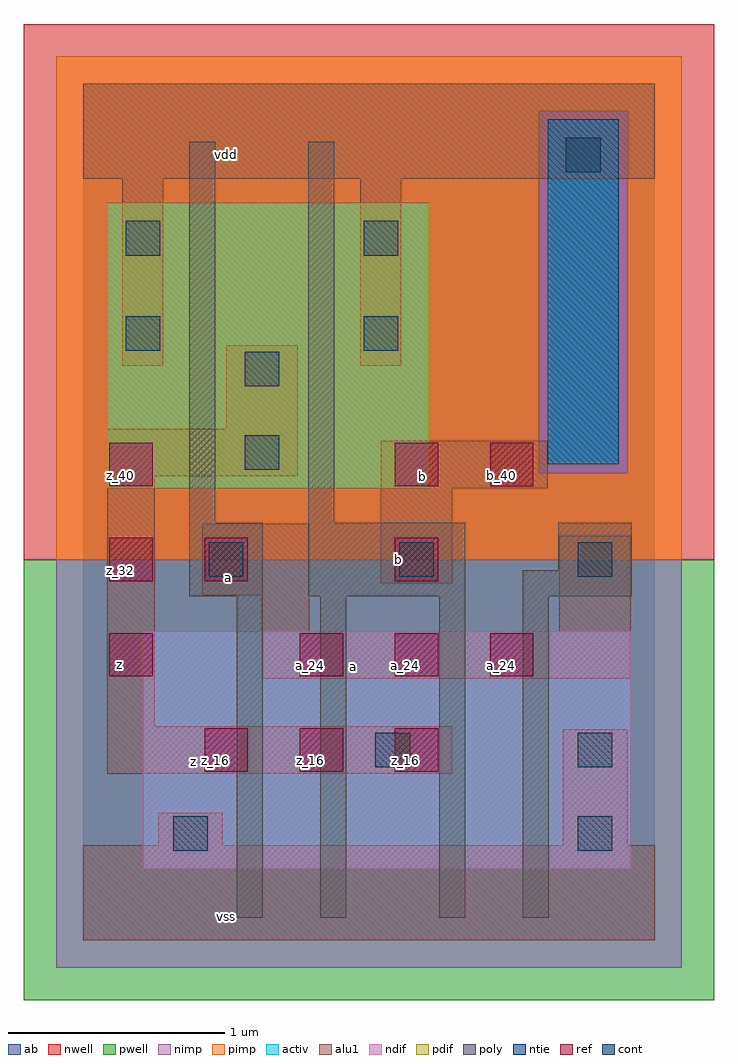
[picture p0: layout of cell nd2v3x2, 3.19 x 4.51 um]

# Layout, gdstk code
import gdstk
lib = gdstk.Library(unit=1e-6, precision=2.5e-09)
def R(c, l, rs):  # rectangles x0, y0, x1, y1
    for r in rs: c.add(gdstk.rectangle(r[:2], r[2:], *l))
def A(c, l, x, y, w, h, nx, ny, dx, dy):  # array of equal rectangles
    R(c, l, [(x+i*dx, y+j*dy, x+i*dx+w, y+j*dy+h) for i in range(nx) for j in range(ny)])
ndif = (3, 0)
pdif = (4, 0)
ntie = (5, 0)
ref = (24, 0)
cont = (25, 0)
pwell = (41, 0)
nwell = (42, 0)
activ = (43, 0)
pimp = (44, 0)
nimp = (45, 0)
poly = (46, 0)
alu1 = (49, 0)
ab = (63, 0)

nd2v3x2 = lib.new_cell('nd2v3x2')
R(nd2v3x2, ndif, [(0.275,0.33,2.53,1.43)])
R(nd2v3x2, pdif, [(0.11,2.09,1.595,3.41)])
R(nd2v3x2, ntie, [(2.145,2.2,2.475,3.795)])
A(nd2v3x2, ref, 0.56, 0.78, 0.2, 0.2, 3, 1, 0.44, 0)
A(nd2v3x2, ref, 0.12, 1.22, 0.2, 0.2, 1, 3, 0, 0.44)
A(nd2v3x2, ref, 1, 1.22, 0.2, 0.2, 3, 1, 0.44, 0)
R(nd2v3x2, ref, [(0.56,1.66,0.76,1.86), (1.44,1.66,1.64,1.86), (1.44,2.1,1.64,2.3), (1.88,2.1,2.08,2.3)])
R(nd2v3x2, cont, [(0.415,0.415,0.575,0.575), (2.285,0.415,2.445,0.575), (1.35,0.8,1.51,0.96), (2.285,0.8,2.445,0.96), (0.58,1.68,0.74,1.84), (1.46,1.68,1.62,1.84), (2.285,1.68,2.445,1.84), (0.745,2.175,0.905,2.335), (0.745,2.56,0.905,2.72), (0.195,2.725,0.355,2.885), (1.295,2.725,1.455,2.885), (0.195,3.165,0.355,3.325), (1.295,3.165,1.455,3.325), (2.23,3.55,2.39,3.71)])
R(nd2v3x2, pwell, [(-0.275,-0.275,2.915,1.76)])
R(nd2v3x2, nwell, [(-0.275,1.76,2.915,4.235)])
R(nd2v3x2, activ, [(0.275,0.33,2.53,1.43), (0.11,2.09,1.595,3.41), (2.145,2.2,2.475,3.795)])
R(nd2v3x2, pimp, [(-0.125,1.76,2.765,2.16), (-0.125,2.16,2.105,3.835), (2.515,2.16,2.765,3.835), (-0.125,3.835,2.765,4.085)])
R(nd2v3x2, nimp, [(-0.125,-0.125,2.765,1.76), (2.105,2.16,2.515,3.835)])
R(nd2v3x2, poly, [(0.71,0.105,0.83,1.59), (1.095,0.105,1.215,1.59), (1.645,0.105,1.765,1.59), (2.03,0.105,2.15,1.59), (0.49,1.59,0.83,1.93), (1.04,1.59,1.765,1.93), (2.03,1.59,2.535,1.71), (2.195,1.71,2.535,1.93), (0.49,1.93,0.61,3.69), (1.04,1.93,1.16,3.69)])
R(nd2v3x2, alu1, [(0,0,2.64,0.44), (0.345,0.44,0.645,0.59), (2.215,0.44,2.515,0.975), (0.11,0.77,1.705,0.99), (0.11,0.99,0.33,2.145), (0.825,1.21,2.53,1.43), (0.825,1.43,1.045,1.595), (2.2,1.43,2.53,1.87), (0.55,1.595,1.045,1.925), (1.375,1.65,1.705,2.09), (1.375,2.09,2.145,2.31), (0.11,2.145,0.99,2.365), (0.66,2.365,0.99,2.75), (0.18,2.655,0.37,3.52), (1.28,2.655,1.47,3.52), (0,3.52,2.64,3.96)])
R(nd2v3x2, ab, [(0,0,2.64,3.96)])
nd2v3x2.add(gdstk.Label('vss', (0.66,0.11), layer=49, texttype=0))
nd2v3x2.add(gdstk.Label('z', (0.5075,0.825), layer=49, texttype=0))
nd2v3x2.add(gdstk.Label('a', (1.25,1.265), layer=49, texttype=0))
nd2v3x2.add(gdstk.Label('b', (1.4575,1.76), layer=49, texttype=0))
nd2v3x2.add(gdstk.Label('a', (0.6725,1.6775), layer=49, texttype=0))
nd2v3x2.add(gdstk.Label('b', (1.5675,2.145), layer=49, texttype=0))
nd2v3x2.add(gdstk.Label('z', (0.165,1.2775), layer=49, texttype=0))
nd2v3x2.add(gdstk.Label('vdd', (0.66,3.63), layer=49, texttype=0))
nd2v3x2.add(gdstk.Label('z_16', (0.61,0.83), layer=24, texttype=0))
nd2v3x2.add(gdstk.Label('a_32', (0.61,1.71), layer=24, texttype=0))
nd2v3x2.add(gdstk.Label('z_16', (1.05,0.83), layer=24, texttype=0))
nd2v3x2.add(gdstk.Label('a_24', (1.05,1.27), layer=24, texttype=0))
nd2v3x2.add(gdstk.Label('z_16', (1.49,0.83), layer=24, texttype=0))
nd2v3x2.add(gdstk.Label('a_24', (1.49,1.27), layer=24, texttype=0))
nd2v3x2.add(gdstk.Label('b_32', (1.49,1.71), layer=24, texttype=0))
nd2v3x2.add(gdstk.Label('b_40', (1.49,2.15), layer=24, texttype=0))
nd2v3x2.add(gdstk.Label('a_24', (1.93,1.27), layer=24, texttype=0))
nd2v3x2.add(gdstk.Label('b_40', (1.93,2.15), layer=24, texttype=0))
nd2v3x2.add(gdstk.Label('z_24', (0.17,1.27), layer=24, texttype=0))
nd2v3x2.add(gdstk.Label('z_32', (0.17,1.71), layer=24, texttype=0))
nd2v3x2.add(gdstk.Label('z_40', (0.17,2.15), layer=24, texttype=0))

lib.write_gds('nd2v3x2.gds')
